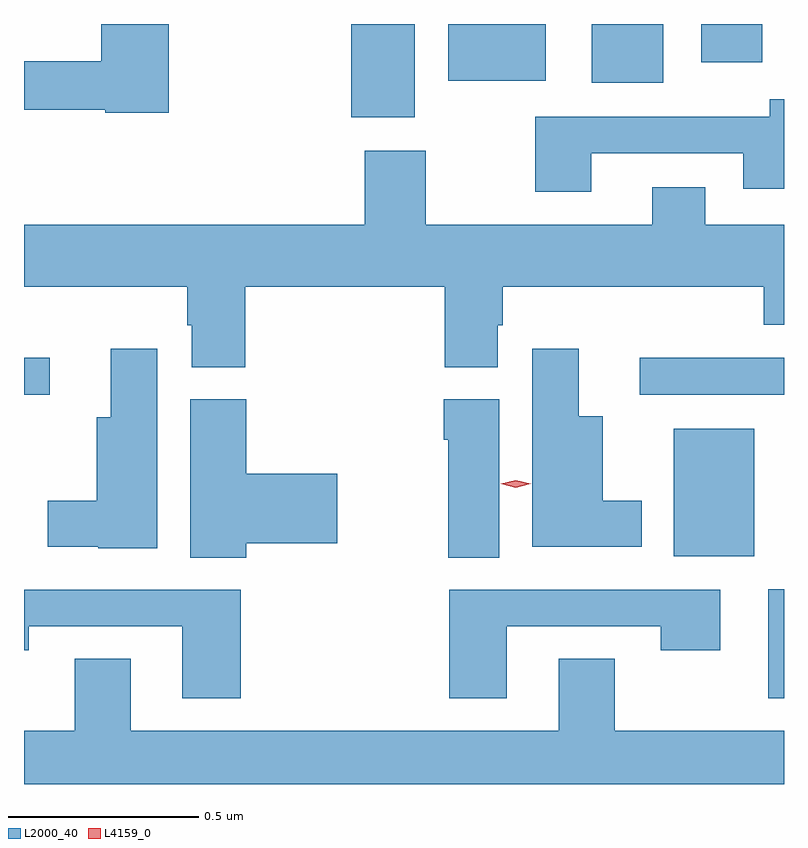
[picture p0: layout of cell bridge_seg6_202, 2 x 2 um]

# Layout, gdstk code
import gdstk
lib = gdstk.Library(unit=1e-6, precision=1e-09)
def R(c, l, rs):  # rectangles x0, y0, x1, y1
    for r in rs: c.add(gdstk.rectangle(r[:2], r[2:], *l))
def P(c, l, *ps):  # polygons
    for p in ps: c.add(gdstk.Polygon(p, *l))
L2000_40 = (2000, 40)
L4159_0 = (4159, 0)

bridge_seg6_202 = lib.new_cell('bridge_seg6_202')
R(bridge_seg6_202, L2000_40, [(145.337,968.898,145.378,969.184), (145.088,969.272,145.3,969.607), (143.378,969.696,143.446,969.794), (144.999,969.696,145.378,969.794), (144.239,970.427,144.406,970.672), (144.872,970.517,145.06,970.672), (144.494,970.523,144.751,970.672), (145.16,970.572,145.321,970.672)])
P(bridge_seg6_202, L2000_40, [(143.759,970.672),(143.581,970.672),(143.581,970.574),(143.378,970.574),(143.378,970.446),(143.592,970.446),(143.592,970.438),(143.759,970.438)],
  [(144.871,970.332),(145.271,970.332),(145.271,970.238),(145.378,970.238),(145.378,970.474),(145.34,970.474),(145.34,970.428),(144.724,970.428),(144.724,970.23),(144.871,970.23)],
  [(143.96,969.98),(144.485,969.98),(144.485,969.769),(144.625,969.769),(144.625,969.879),(144.638,969.879),(144.638,969.98),(145.325,969.98),(145.325,969.881),(145.378,969.881),(145.378,970.144),(145.171,970.144),(145.171,970.243),(145.031,970.243),(145.031,970.144),(144.435,970.144),(144.435,970.339),(144.275,970.339),(144.275,970.144),(143.378,970.144),(143.378,969.98),(143.807,969.98),(143.807,969.879),(143.819,969.879),(143.819,969.769),(143.96,969.769)],
  [(145.003,969.418),(144.901,969.418),(144.901,969.64),(144.838,969.64),(144.838,969.817),(144.716,969.817),(144.716,969.296),(145.003,969.296)],
  [(143.728,969.817),(143.606,969.817),(143.606,969.637),(143.57,969.637),(143.57,969.418),(143.441,969.418),(143.441,969.296),(143.574,969.296),(143.574,969.293),(143.728,969.293)],
  [(143.963,969.305),(144.202,969.305),(144.202,969.488),(143.963,969.488),(143.963,969.684),(143.816,969.684),(143.816,969.268),(143.963,969.268)],
  [(144.628,969.684),(144.482,969.684),(144.482,969.578),(144.494,969.578),(144.494,969.268),(144.628,969.268)],
  [(144.649,969.087),(145.054,969.087),(145.054,969.024),(145.21,969.024),(145.21,969.183),(144.497,969.183),(144.497,968.898),(144.649,968.898)],
  [(143.948,969.183),(143.378,969.183),(143.378,969.024),(143.391,969.024),(143.391,969.087),(143.795,969.087),(143.795,968.898),(143.948,968.898)],
  [(145.378,968.812),(144.933,968.812),(144.933,969.002),(144.785,969.002),(144.785,968.812),(143.659,968.812),(143.659,969.002),(143.512,969.002),(143.512,968.812),(143.378,968.812),(143.378,968.672),(145.378,968.672)])
P(bridge_seg6_202, L4159_0, [(144.672,969.452),(144.632,969.462),(144.632,969.462),(144.632,969.462),(144.672,969.472),(144.712,969.462),(144.712,969.462),(144.712,969.462)])

lib.write_gds('bridge_seg6_202.gds')
